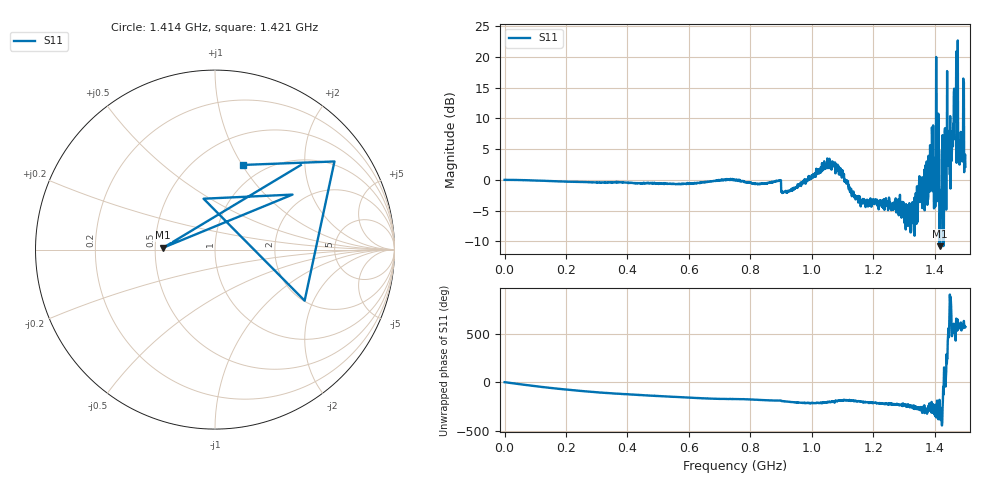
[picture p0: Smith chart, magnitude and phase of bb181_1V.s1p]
# Hz S RI R 50
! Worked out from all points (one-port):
!   1515 points, 50 kHz to 1.5 GHz, reference 50 ohm
!   lowest |S11| = -10.8 dB at 1.416 GHz (marker M1), VSWR 1.81, Z = 27.6 + j0.625 ohm
!   |S11| at or under -10 dB: 1.415681 GHz to 1.415935 GHz (254 kHz wide, 0.0179 % of centre); 1.417629 GHz to 1.417892 GHz (262.4 kHz wide, 0.0185 % of centre); 1.428408 GHz to 1.42968 GHz (1.272 MHz wide, 0.089 % of centre)
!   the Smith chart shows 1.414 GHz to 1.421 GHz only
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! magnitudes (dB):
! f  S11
! 50 kHz  0.0
! 188.3 MHz  -0.3
! 375.5 MHz  -0.4
! 562.8 MHz  -0.7
! 750 MHz  0.0
! 938.3 MHz  -1.6
! 1.055 GHz  3.3
! 1.098 GHz  0.4
! 1.126 GHz  -1.5
! 1.161 GHz  -3.5
! 1.247 GHz  -3.7
! 1.313 GHz  -7.5
! 1.328 GHz  -3.6
! 1.355 GHz  -1.4
! 1.372 GHz  -0.1
! 1.388 GHz  2.2
! 1.397 GHz  -0.3
! 1.407 GHz  10.1
! 1.416 GHz  -10.8
! 1.419 GHz  -4.8
! 1.423 GHz  -5.5
! 1.433 GHz  7.9
! 1.44 GHz  3.6
! 1.452 GHz  5.7
! 1.468 GHz  9.5
! 1.483 GHz  5.8
! 1.488 GHz  6.8
! 1.5 GHz  2.1
